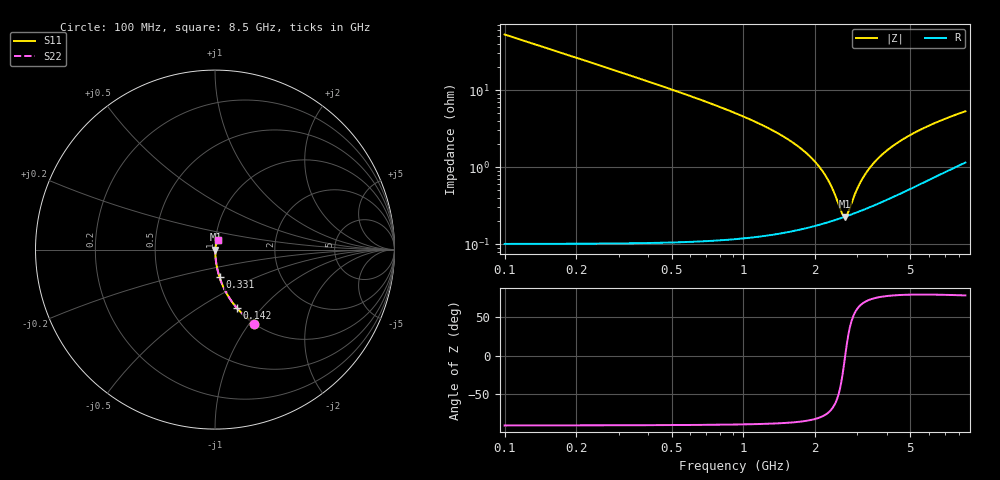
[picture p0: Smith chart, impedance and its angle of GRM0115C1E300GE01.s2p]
!Murata Part Number: GRM0115C1E300GE01
!These Parameters are Measured in Series Mode Connection
!Data Generated on Mar 30, 2021
!  o--ll--o
!Port1  Port2
!  o------o
!Operation Temp=25[degC], DC Bias Voltage=0[V]
!Freq. Start=100[MHz] Stop=9[GHz] 401[Steps]
# Hz S RI R 50
!Freq.(Hz) S11(Real) S11(Imag) S21(Real) S21(Imag) S12(Real) S12(Imag) S22(Real) S22(Imag)
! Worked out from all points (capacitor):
!   401 points, 100 MHz to 8.5 GHz, reference 50 ohm
!   read as one part in series: C = 30 pF near 142 MHz
!   lowest |Z| = 227 mohm at 2.662 GHz (marker M1)
!   series resonance near 2.668 GHz, so ESL is about 120 pH
!   S11 on the Smith chart (normalised r, x): 100 MHz: 1.00, -1.06; 142 MHz: 1.00, -0.75; 331 MHz: 1.00, -0.32; 8.5 GHz: 1.02, +0.10
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1e8  0.2196 -0.413  0.7804 0.413  0.7804 0.413  0.2196 -0.413
1.42e8  0.1225 -0.3266  0.8775 0.3266  0.8775 0.3266  0.1225 -0.3266
2.26e8  0.0524 -0.2206  0.9476 0.2206  0.9476 0.2206  0.0524 -0.2206
3.31e8  0.0252 -0.1536  0.9748 0.1536  0.9748 0.1536  0.0252 -0.1536
4.99e8  0.0114 -0.1013  0.9886 0.1013  0.9886 0.1013  0.0114 -0.1013
7.3e8  0.00558 -0.0667  0.9944 0.0667  0.9944 0.0667  0.00558 -0.0667
1.507e9  0.00199 -0.0238  0.998 0.0238  0.998 0.0238  0.00199 -0.0238
1.864e9  0.00184 -0.0144  0.9982 0.0144  0.9982 0.0144  0.00184 -0.0144
2.137e9  0.0019 -0.0088  0.9981 0.0088  0.9981 0.0088  0.0019 -0.0088
2.347e9  0.00202 -0.00505  0.998 0.00505  0.998 0.00505  0.00202 -0.00505
2.578e9  0.00219 -0.00134  0.9978 0.00134  0.9978 0.00134  0.00219 -0.00134
2.662e9  0.00227 -8.37e-05  0.9977 8.37e-05  0.9977 8.37e-05  0.00227 -8.37e-05
2.746e9  0.00235 0.00113  0.9977 -0.00113  0.9977 -0.00113  0.00235 0.00113
2.914e9  0.00252 0.00346  0.9975 -0.00346  0.9975 -0.00346  0.00252 0.00346
3.145e9  0.00279 0.00645  0.9972 -0.00645  0.9972 -0.00645  0.00279 0.00645
3.439e9  0.00318 0.00997  0.9968 -0.00997  0.9968 -0.00997  0.00318 0.00997
3.817e9  0.00373 0.0141  0.9963 -0.0141  0.9963 -0.0141  0.00373 0.0141
4.3e9  0.00453 0.019  0.9955 -0.019  0.9955 -0.019  0.00453 0.019
4.93e9  0.0057 0.0248  0.9943 -0.0248  0.9943 -0.0248  0.0057 0.0248
5.707e9  0.00731 0.0313  0.9927 -0.0313  0.9927 -0.0313  0.00731 0.0313
7.114e9  0.0105 0.0418  0.9895 -0.0418  0.9895 -0.0418  0.0105 0.0418
8.5e9  0.014 0.0507  0.986 -0.0507  0.986 -0.0507  0.014 0.0507
